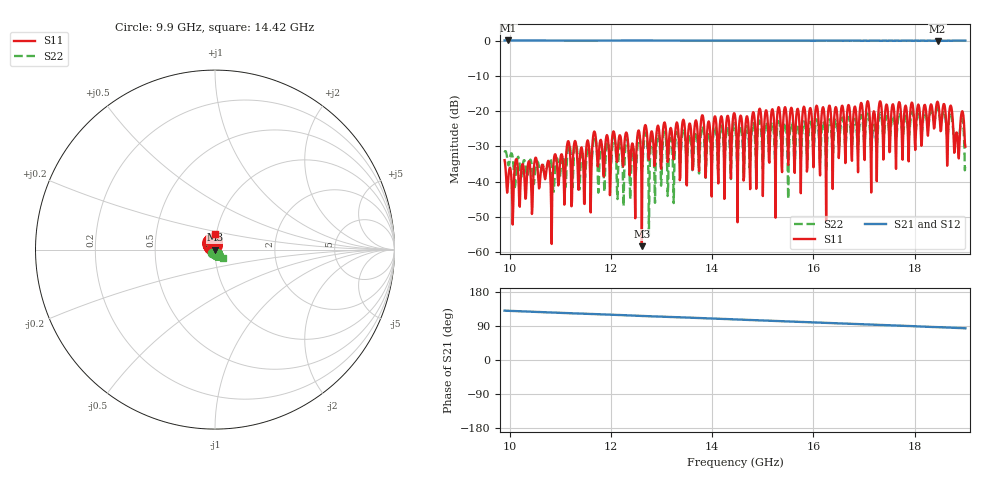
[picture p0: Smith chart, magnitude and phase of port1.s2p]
! RsaToolbox (C) 2015 Rohde & Schwarz America
! Number of points: 911
! Number of ports: 2
! Balanced ports?: No
# Hz S RI R 50
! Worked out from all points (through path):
!   911 points, 9.9 GHz to 19 GHz, reference 50 ohm
!   highest |S21| = 0.02 dB at 9.97 GHz (marker M1); lowest = -0.1 dB at 18.45 GHz (marker M2)
!   lowest |S11| = -58.3 dB at 12.61 GHz (marker M3), VSWR 1.00, Z = 50.1 - j0.103 ohm
!   |S11| at or under -10 dB: start of sweep to end of sweep
!   |S22| runs from -55.1 to -19.1 dB; largest |S21 - S12| = 0
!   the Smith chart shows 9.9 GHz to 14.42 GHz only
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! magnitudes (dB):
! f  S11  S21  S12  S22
! 9.9 GHz  -33.9  0.0  0.0  -31.7
! 9.97 GHz  -39.7  0.0  0.0  -35.1
! 10.52 GHz  -33.2  0.0  0.0  -35.3
! 10.82 GHz  -47.8  0.0  0.0  -34.5
! 10.9 GHz  -32.2  0.0  0.0  -36.0
! 11.42 GHz  -30.3  0.0  0.0  -32.4
! 12.3 GHz  -26.1  0.0  0.0  -28.5
! 12.47 GHz  -41.4  0.0  0.0  -34.0
! 12.55 GHz  -25.5  0.0  0.0  -27.4
! 12.61 GHz  -58.3  0.0  0.0  -34.8
! 12.68 GHz  -24.0  0.0  0.0  -26.0
! 12.75 GHz  -33.8  0.0  0.0  -55.1
! 12.94 GHz  -24.5  0.0  0.0  -26.6
! 14.45 GHz  -21.2  0.0  0.0  -24.2
! 14.5 GHz  -51.5  0.0  0.0  -38.3
! 14.94 GHz  -19.3  0.0  0.0  -22.7
! 15.97 GHz  -22.7  0.0  0.0  -25.4
! 17.49 GHz  -26.0  0.0  0.0  -25.4
! 18.45 GHz  -17.3  -0.1  -0.1  -19.1
! 18.83 GHz  -26.1  0.0  0.0  -26.6
! 18.93 GHz  -20.2  -0.1  -0.1  -22.1
! 19 GHz  -30.1  0.0  0.0  -34.8
